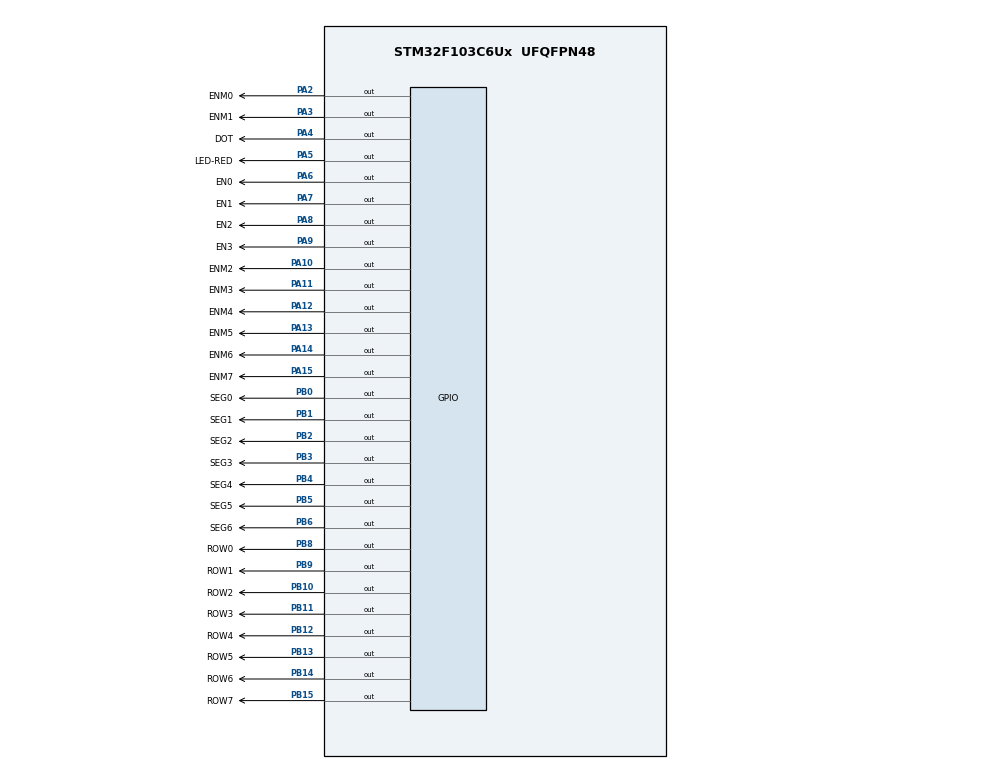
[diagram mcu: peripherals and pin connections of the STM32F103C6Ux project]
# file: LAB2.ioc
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Mcu.Family=STM32F1
Mcu.Name=STM32F103C6Ux
Mcu.Package=UFQFPN48
NVIC.PriorityGroup=NVIC_PRIORITYGROUP_4
NVIC.TIM2_IRQn=true\:0\:0\:false\:false\:true\:true\:true
PA10.GPIO_Label=ENM2
PA10.Signal=GPIO_Output
PA11.GPIO_Label=ENM3
PA11.Signal=GPIO_Output
PA12.GPIO_Label=ENM4
PA12.Signal=GPIO_Output
PA13.GPIO_Label=ENM5
PA13.Signal=GPIO_Output
PA14.GPIO_Label=ENM6
PA14.Signal=GPIO_Output
PA15.GPIO_Label=ENM7
PA15.Signal=GPIO_Output
PA2.GPIO_Label=ENM0
PA2.Signal=GPIO_Output
PA3.GPIO_Label=ENM1
PA3.Signal=GPIO_Output
PA4.GPIO_Label=DOT
PA4.Signal=GPIO_Output
PA5.GPIO_Label=LED-RED
PA5.Signal=GPIO_Output
PA6.GPIO_Label=EN0
PA6.Signal=GPIO_Output
PA7.GPIO_Label=EN1
PA7.Signal=GPIO_Output
PA8.GPIO_Label=EN2
PA8.Signal=GPIO_Output
PA9.GPIO_Label=EN3
PA9.Signal=GPIO_Output
PB0.GPIO_Label=SEG0
PB0.Signal=GPIO_Output
PB1.GPIO_Label=SEG1
PB1.Signal=GPIO_Output
PB10.GPIO_Label=ROW2
PB10.Signal=GPIO_Output
PB11.GPIO_Label=ROW3
PB11.Signal=GPIO_Output
PB12.GPIO_Label=ROW4
PB12.Signal=GPIO_Output
PB13.GPIO_Label=ROW5
PB13.Signal=GPIO_Output
PB14.GPIO_Label=ROW6
PB14.Signal=GPIO_Output
PB15.GPIO_Label=ROW7
PB15.Signal=GPIO_Output
PB2.GPIO_Label=SEG2
PB2.Signal=GPIO_Output
PB3.GPIO_Label=SEG3
PB3.Signal=GPIO_Output
PB4.GPIO_Label=SEG4
PB4.Signal=GPIO_Output
PB5.GPIO_Label=SEG5
PB5.Signal=GPIO_Output
PB6.GPIO_Label=SEG6
PB6.Signal=GPIO_Output
PB8.GPIO_Label=ROW0
PB8.Signal=GPIO_Output
PB9.GPIO_Label=ROW1
PB9.Signal=GPIO_Output
ProjectManager.HeapSize=0x200
ProjectManager.StackSize=0x400
ProjectManager.TargetToolchain=STM32CubeIDE
RCC.APB1Freq_Value=8000000
RCC.APB2Freq_Value=8000000
TIM2.Period=9
TIM2.Prescaler=7999
VP_SYS_VS_ND.Mode=No_Debug
VP_TIM2_VS_ClockSourceINT.Mode=Internal
board=custom

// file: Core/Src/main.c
/* USER CODE BEGIN Header */
/**
  ******************************************************************************
  * @file           : main.c
  * @brief          : Main program body
  ******************************************************************************
  * @attention
  *
  * <h2><center>&copy; Copyright (c) 2024 STMicroelectronics.
  * All rights reserved.</center></h2>
  *
  * This software component is licensed by ST under BSD 3-Clause license,
  * the "License"; You may not use this file except in compliance with the
  * License. You may obtain a copy of the License at:
  *                        opensource.org/licenses/BSD-3-Clause
  *
  ******************************************************************************
  */
/* USER CODE END Header */
#include "main.h"

/* USER CODE BEGIN Includes */
#include "software_timer.h"
#include "display7Seg.h"
/* USER CODE END Includes */

TIM_HandleTypeDef htim2;

void SystemClock_Config(void);
static void MX_GPIO_Init(void);
static void MX_TIM2_Init(void);

/* USER CODE BEGIN 0 */

// clock buffer function
int hour = 15, minute = 8, second = 50;
void updateClockBuffer(){
	second++;
	if(second >= 60){
		second = 0;
		minute++;
	}
	if(minute >= 60) {
		minute = 0;
		hour++;
	}
	if(hour >= 24){
		hour = 0;
	}
	led_buffer[0] = hour / 10;
	led_buffer[1] = hour % 10;
	led_buffer[2] = minute / 10;
	led_buffer[3] = minute % 10;
}

const int MAX_LED_MATRIX = 8;
int index_led_matrix = 0;
uint8_t matrix_buffer [8] = {
  0b11111111,
  0b00000011,
  0b00000001,
  0b11001000,
  0b11001000,
  0b00000001,
  0b00000011,
  0b11111111,
};

void SCAN_LED_MATRIX(int index){

	  HAL_GPIO_WritePin(ROW0_GPIO_Port, ROW0_Pin, RESET);
	  HAL_GPIO_WritePin(ROW1_GPIO_Port, ROW1_Pin, RESET);
	  HAL_GPIO_WritePin(ROW2_GPIO_Port, ROW2_Pin, RESET);
	  HAL_GPIO_WritePin(ROW3_GPIO_Port, ROW3_Pin, RESET);
	  HAL_GPIO_WritePin(ROW4_GPIO_Port, ROW4_Pin, RESET);
	  HAL_GPIO_WritePin(ROW5_GPIO_Port, ROW5_Pin, RESET);
	  HAL_GPIO_WritePin(ROW6_GPIO_Port, ROW6_Pin, RESET);
	  HAL_GPIO_WritePin(ROW7_GPIO_Port, ROW7_Pin, RESET);

	  uint8_t row_value = matrix_buffer[index];
	  if(row_value & 0b00000001) HAL_GPIO_WritePin(ROW0_GPIO_Port, ROW0_Pin, SET );
	  if(row_value & 0b00000010) HAL_GPIO_WritePin(ROW1_GPIO_Port, ROW1_Pin, SET );
	  if(row_value & 0b00000100) HAL_GPIO_WritePin(ROW2_GPIO_Port, ROW2_Pin, SET );
	  if(row_value & 0b00001000) HAL_GPIO_WritePin(ROW3_GPIO_Port, ROW3_Pin, SET );
	  if(row_value & 0b00010000) HAL_GPIO_WritePin(ROW4_GPIO_Port, ROW4_Pin, SET );
	  if(row_value & 0b00100000) HAL_GPIO_WritePin(ROW5_GPIO_Port, ROW5_Pin, SET );
	  if(row_value & 0b01000000) HAL_GPIO_WritePin(ROW6_GPIO_Port, ROW6_Pin, SET );
	  if(row_value & 0b10000000) HAL_GPIO_WritePin(ROW7_GPIO_Port, ROW7_Pin, SET );
}
void updateLEDMatrix (int index ){
switch ( index ) {
    case 0:
	    HAL_GPIO_WritePin(ENM0_GPIO_Port, ENM0_Pin, RESET );
    	HAL_GPIO_WritePin(ENM1_GPIO_Port, ENM1_Pin, SET );
    	HAL_GPIO_WritePin(ENM2_GPIO_Port, ENM2_Pin, SET );
    	HAL_GPIO_WritePin(ENM3_GPIO_Port, ENM3_Pin, SET );
    	HAL_GPIO_WritePin(ENM4_GPIO_Port, ENM4_Pin, SET );
    	HAL_GPIO_WritePin(ENM5_GPIO_Port, ENM5_Pin, SET );
    	HAL_GPIO_WritePin(ENM6_GPIO_Port, ENM6_Pin, SET );
    	HAL_GPIO_WritePin(ENM7_GPIO_Port, ENM7_Pin, SET );
        SCAN_LED_MATRIX(index);
        break ;
    case 1:
    	HAL_GPIO_WritePin(ENM0_GPIO_Port, ENM0_Pin, SET );
    	HAL_GPIO_WritePin(ENM1_GPIO_Port, ENM1_Pin, RESET );
    	HAL_GPIO_WritePin(ENM2_GPIO_Port, ENM2_Pin, SET );
    	HAL_GPIO_WritePin(ENM3_GPIO_Port, ENM3_Pin, SET );
    	HAL_GPIO_WritePin(ENM4_GPIO_Port, ENM4_Pin, SET );
    	HAL_GPIO_WritePin(ENM5_GPIO_Port, ENM5_Pin, SET );
    	HAL_GPIO_WritePin(ENM6_GPIO_Port, ENM6_Pin, SET );
    	HAL_GPIO_WritePin(ENM7_GPIO_Port, ENM7_Pin, SET );
    	SCAN_LED_MATRIX(index);
        break ;
    case 2:
    	HAL_GPIO_WritePin(ENM0_GPIO_Port, ENM0_Pin, SET );
    	HAL_GPIO_WritePin(ENM1_GPIO_Port, ENM1_Pin, SET );
    	HAL_GPIO_WritePin(ENM2_GPIO_Port, ENM2_Pin, RESET );
    	HAL_GPIO_WritePin(ENM3_GPIO_Port, ENM3_Pin, SET );
    	HAL_GPIO_WritePin(ENM4_GPIO_Port, ENM4_Pin, SET );
    	HAL_GPIO_WritePin(ENM5_GPIO_Port, ENM5_Pin, SET );
    	HAL_GPIO_WritePin(ENM6_GPIO_Port, ENM6_Pin, SET );
    	HAL_GPIO_WritePin(ENM7_GPIO_Port, ENM7_Pin, SET );
        SCAN_LED_MATRIX(index);
        break ;
    case 3:
    	HAL_GPIO_WritePin(ENM0_GPIO_Port, ENM0_Pin, SET );
    	HAL_GPIO_WritePin(ENM1_GPIO_Port, ENM1_Pin, SET );
    	HAL_GPIO_WritePin(ENM2_GPIO_Port, ENM2_Pin, SET );
    	HAL_GPIO_WritePin(ENM3_GPIO_Port, ENM3_Pin, RESET );
    	HAL_GPIO_WritePin(ENM4_GPIO_Port, ENM4_Pin, SET );
    	HAL_GPIO_WritePin(ENM5_GPIO_Port, ENM5_Pin, SET );
    	HAL_GPIO_WritePin(ENM6_GPIO_Port, ENM6_Pin, SET );
    	HAL_GPIO_WritePin(ENM7_GPIO_Port, ENM7_Pin, SET );
    	SCAN_LED_MATRIX(index);
        break ;
    case 4:
    	HAL_GPIO_WritePin(ENM0_GPIO_Port, ENM0_Pin, SET );
    	    	HAL_GPIO_WritePin(ENM1_GPIO_Port, ENM1_Pin, SET );
    	    	HAL_GPIO_WritePin(ENM2_GPIO_Port, ENM2_Pin, SET );
    	    	HAL_GPIO_WritePin(ENM3_GPIO_Port, ENM3_Pin, SET );
    	    	HAL_GPIO_WritePin(ENM4_GPIO_Port, ENM4_Pin, RESET );
    	    	HAL_GPIO_WritePin(ENM5_GPIO_Port, ENM5_Pin, SET );
    	    	HAL_GPIO_WritePin(ENM6_GPIO_Port, ENM6_Pin, SET );
    	    	HAL_GPIO_WritePin(ENM7_GPIO_Port, ENM7_Pin, SET );
    	SCAN_LED_MATRIX(index);
        break ;
    case 5:
    	HAL_GPIO_WritePin(ENM0_GPIO_Port, ENM0_Pin, SET );
    	HAL_GPIO_WritePin(ENM1_GPIO_Port, ENM1_Pin, SET );
    	HAL_GPIO_WritePin(ENM2_GPIO_Port, ENM2_Pin, SET );
    	HAL_GPIO_WritePin(ENM3_GPIO_Port, ENM3_Pin, SET );
    	HAL_GPIO_WritePin(ENM4_GPIO_Port, ENM4_Pin, SET );
    	HAL_GPIO_WritePin(ENM5_GPIO_Port, ENM5_Pin, RESET );
    	HAL_GPIO_WritePin(ENM6_GPIO_Port, ENM6_Pin, SET );
    	HAL_GPIO_WritePin(ENM7_GPIO_Port, ENM7_Pin, SET );
    	SCAN_LED_MATRIX(index);
        break ;
    case 6:
    	HAL_GPIO_WritePin(ENM0_GPIO_Port, ENM0_Pin, GPIO_PIN_SET );
    	HAL_GPIO_WritePin(ENM1_GPIO_Port, ENM1_Pin, GPIO_PIN_SET );
    	HAL_GPIO_WritePin(ENM2_GPIO_Port, ENM2_Pin, GPIO_PIN_SET );
    	HAL_GPIO_WritePin(ENM3_GPIO_Port, ENM3_Pin, GPIO_PIN_SET );
    	HAL_GPIO_WritePin(ENM4_GPIO_Port, ENM4_Pin, GPIO_PIN_SET );
    	HAL_GPIO_WritePin(ENM5_GPIO_Port, ENM5_Pin, GPIO_PIN_SET );
    	HAL_GPIO_WritePin(ENM6_GPIO_Port, ENM6_Pin, GPIO_PIN_RESET );
    	HAL_GPIO_WritePin(ENM7_GPIO_Port, ENM7_Pin, GPIO_PIN_SET );
    	SCAN_LED_MATRIX(index);
        break ;
    case 7:
    	HAL_GPIO_WritePin(ENM0_GPIO_Port, ENM0_Pin, GPIO_PIN_SET );
    	HAL_GPIO_WritePin(ENM1_GPIO_Port, ENM1_Pin, GPIO_PIN_SET );
    	HAL_GPIO_WritePin(ENM2_GPIO_Port, ENM2_Pin, GPIO_PIN_SET );
    	HAL_GPIO_WritePin(ENM3_GPIO_Port, ENM3_Pin, GPIO_PIN_SET );
    	HAL_GPIO_WritePin(ENM4_GPIO_Port, ENM4_Pin, GPIO_PIN_SET );
    	HAL_GPIO_WritePin(ENM5_GPIO_Port, ENM5_Pin, GPIO_PIN_SET );
    	HAL_GPIO_WritePin(ENM6_GPIO_Port, ENM6_Pin, GPIO_PIN_SET );
    	HAL_GPIO_WritePin(ENM7_GPIO_Port, ENM7_Pin, GPIO_PIN_RESET );
    	SCAN_LED_MATRIX(index);

        break ;
         default :
         break ;
      }
 }

/* USER CODE END 0 */

int main(void)
{

  /* MCU Configuration--------------------------------------------------------*/

  /* Reset of all peripherals, Initializes the Flash interface and the Systick. */
  HAL_Init();

  /* Configure the system clock */
  SystemClock_Config();

  /* Initialize all configured peripherals */
  MX_GPIO_Init();
  MX_TIM2_Init();
  /* USER CODE BEGIN 2 */
  HAL_TIM_Base_Start_IT(&htim2);
  /* USER CODE END 2 */

  /* Infinite loop */
  /* USER CODE BEGIN WHILE */

  setTimer(0, 100);
  setTimer(1, 25);
  setTimer(2, 100);
  setTimer(3,5);
  updateClockBuffer();
  while (1)
  {
	  if(timer_flag[0] == 1){
	  		  setTimer(0, 100);
	  		  HAL_GPIO_TogglePin(DOT_GPIO_Port, DOT_Pin);
	  //		  HAL_GPIO_TogglePin(LED_RED_GPIO_Port, LED_RED_Pin);
	  	  }
	  	  if(timer_flag[1] == 1){
	  		  setTimer(1, 25);
	  		  update7SEG(index_led);
	  		  if(index_led >= MAX_LED-1) index_led = 0;
	  		  else index_led++;
	  	  }
	  	  if(timer_flag[2] == 1){
	  		  setTimer(2, 100);
	  		  updateClockBuffer();
	  	  }
	  	  if(timer_flag[3] == 1){
	  		  setTimer(3,25);
	  		  updateLEDMatrix(index_led_matrix++);
	  		 if(index_led_matrix >= MAX_LED_MATRIX-1) index_led_matrix = 0;
	  	  }

    /* USER CODE END WHILE */

  }
}

void SystemClock_Config(void)
{
  RCC_OscInitTypeDef RCC_OscInitStruct = {0};
  RCC_ClkInitTypeDef RCC_ClkInitStruct = {0};

  /** Initializes the RCC Oscillators according to the specified parameters
  * in the RCC_OscInitTypeDef structure.
  */
  RCC_OscInitStruct.OscillatorType = RCC_OSCILLATORTYPE_HSI;
  RCC_OscInitStruct.HSIState = RCC_HSI_ON;
  RCC_OscInitStruct.HSICalibrationValue = RCC_HSICALIBRATION_DEFAULT;
  RCC_OscInitStruct.PLL.PLLState = RCC_PLL_NONE;
  if (HAL_RCC_OscConfig(&RCC_OscInitStruct) != HAL_OK)
  {
    Error_Handler();
  }
  /** Initializes the CPU, AHB and APB buses clocks
  */
  RCC_ClkInitStruct.ClockType = RCC_CLOCKTYPE_HCLK|RCC_CLOCKTYPE_SYSCLK
                              |RCC_CLOCKTYPE_PCLK1|RCC_CLOCKTYPE_PCLK2;
  RCC_ClkInitStruct.SYSCLKSource = RCC_SYSCLKSOURCE_HSI;
  RCC_ClkInitStruct.AHBCLKDivider = RCC_SYSCLK_DIV1;
  RCC_ClkInitStruct.APB1CLKDivider = RCC_HCLK_DIV1;
  RCC_ClkInitStruct.APB2CLKDivider = RCC_HCLK_DIV1;

  if (HAL_RCC_ClockConfig(&RCC_ClkInitStruct, FLASH_LATENCY_0) != HAL_OK)
  {
    Error_Handler();
  }
}

static void MX_TIM2_Init(void)
{

  TIM_ClockConfigTypeDef sClockSourceConfig = {0};
  TIM_MasterConfigTypeDef sMasterConfig = {0};

  htim2.Instance = TIM2;
  htim2.Init.Prescaler = 7999;
  htim2.Init.CounterMode = TIM_COUNTERMODE_UP;
  htim2.Init.Period = 9;
  htim2.Init.ClockDivision = TIM_CLOCKDIVISION_DIV1;
  htim2.Init.AutoReloadPreload = TIM_AUTORELOAD_PRELOAD_DISABLE;
  if (HAL_TIM_Base_Init(&htim2) != HAL_OK)
  {
    Error_Handler();
  }
  sClockSourceConfig.ClockSource = TIM_CLOCKSOURCE_INTERNAL;
  if (HAL_TIM_ConfigClockSource(&htim2, &sClockSourceConfig) != HAL_OK)
  {
    Error_Handler();
  }
  sMasterConfig.MasterOutputTrigger = TIM_TRGO_RESET;
  sMasterConfig.MasterSlaveMode = TIM_MASTERSLAVEMODE_DISABLE;
  if (HAL_TIMEx_MasterConfigSynchronization(&htim2, &sMasterConfig) != HAL_OK)
  {
    Error_Handler();
  }

}

static void MX_GPIO_Init(void)
{
  GPIO_InitTypeDef GPIO_InitStruct = {0};

  /* GPIO Ports Clock Enable */
  __HAL_RCC_GPIOA_CLK_ENABLE();
  __HAL_RCC_GPIOB_CLK_ENABLE();

  /*Configure GPIO pin Output Level */
  HAL_GPIO_WritePin(GPIOA, ENM0_Pin|ENM1_Pin|DOT_Pin|LED_RED_Pin
                          |EN0_Pin|EN1_Pin|EN2_Pin|EN3_Pin
                          |ENM2_Pin|ENM3_Pin|ENM4_Pin|ENM5_Pin
                          |ENM6_Pin|ENM7_Pin, GPIO_PIN_RESET);

  /*Configure GPIO pin Output Level */
  HAL_GPIO_WritePin(GPIOB, SEG0_Pin|SEG1_Pin|SEG2_Pin|ROW2_Pin
                          |ROW3_Pin|ROW4_Pin|ROW5_Pin|ROW6_Pin
                          |ROW7_Pin|SEG3_Pin|SEG4_Pin|SEG5_Pin
                          |SEG6_Pin|ROW0_Pin|ROW1_Pin, GPIO_PIN_RESET);

  /*Configure GPIO pins : ENM0_Pin ENM1_Pin DOT_Pin LED_RED_Pin
                           EN0_Pin EN1_Pin EN2_Pin EN3_Pin
                           ENM2_Pin ENM3_Pin ENM4_Pin ENM5_Pin
                           ENM6_Pin ENM7_Pin */
  GPIO_InitStruct.Pin = ENM0_Pin|ENM1_Pin|DOT_Pin|LED_RED_Pin
                          |EN0_Pin|EN1_Pin|EN2_Pin|EN3_Pin
                          |ENM2_Pin|ENM3_Pin|ENM4_Pin|ENM5_Pin
                          |ENM6_Pin|ENM7_Pin;
  GPIO_InitStruct.Mode = GPIO_MODE_OUTPUT_PP;
  GPIO_InitStruct.Pull = GPIO_NOPULL;
  GPIO_InitStruct.Speed = GPIO_SPEED_FREQ_LOW;
  HAL_GPIO_Init(GPIOA, &GPIO_InitStruct);

  /*Configure GPIO pins : SEG0_Pin SEG1_Pin SEG2_Pin ROW2_Pin
                           ROW3_Pin ROW4_Pin ROW5_Pin ROW6_Pin
                           ROW7_Pin SEG3_Pin SEG4_Pin SEG5_Pin
                           SEG6_Pin ROW0_Pin ROW1_Pin */
  GPIO_InitStruct.Pin = SEG0_Pin|SEG1_Pin|SEG2_Pin|ROW2_Pin
                          |ROW3_Pin|ROW4_Pin|ROW5_Pin|ROW6_Pin
                          |ROW7_Pin|SEG3_Pin|SEG4_Pin|SEG5_Pin
                          |SEG6_Pin|ROW0_Pin|ROW1_Pin;
  GPIO_InitStruct.Mode = GPIO_MODE_OUTPUT_PP;
  GPIO_InitStruct.Pull = GPIO_NOPULL;
  GPIO_InitStruct.Speed = GPIO_SPEED_FREQ_LOW;
  HAL_GPIO_Init(GPIOB, &GPIO_InitStruct);

}

/* USER CODE BEGIN 4 */
void HAL_TIM_PeriodElapsedCallback(TIM_HandleTypeDef *htim){
	timerRun();
}
/* USER CODE END 4 */

void Error_Handler(void)
{
  __disable_irq();
  while (1)
  {
  }
}

/************************ (C) COPYRIGHT STMicroelectronics *****END OF FILE****/
